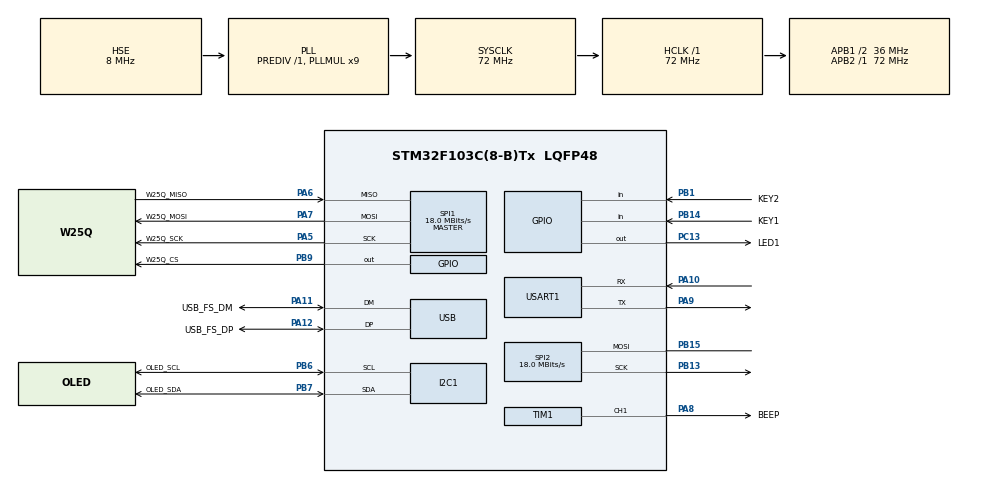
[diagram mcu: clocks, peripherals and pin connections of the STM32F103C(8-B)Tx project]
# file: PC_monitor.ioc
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Dma.Request0=USART1_RX
Dma.Request1=USART1_TX
Dma.USART1_RX.0.Direction=DMA_PERIPH_TO_MEMORY
Dma.USART1_RX.0.Instance=DMA1_Channel5
Dma.USART1_RX.0.MemDataAlignment=DMA_MDATAALIGN_BYTE
Dma.USART1_RX.0.MemInc=DMA_MINC_ENABLE
Dma.USART1_RX.0.Mode=DMA_NORMAL
Dma.USART1_RX.0.PeriphDataAlignment=DMA_PDATAALIGN_BYTE
Dma.USART1_RX.0.PeriphInc=DMA_PINC_DISABLE
Dma.USART1_RX.0.Priority=DMA_PRIORITY_LOW
Dma.USART1_TX.1.Direction=DMA_MEMORY_TO_PERIPH
Dma.USART1_TX.1.Instance=DMA1_Channel4
Dma.USART1_TX.1.MemDataAlignment=DMA_MDATAALIGN_BYTE
Dma.USART1_TX.1.MemInc=DMA_MINC_ENABLE
Dma.USART1_TX.1.Mode=DMA_NORMAL
Dma.USART1_TX.1.PeriphDataAlignment=DMA_PDATAALIGN_BYTE
Dma.USART1_TX.1.PeriphInc=DMA_PINC_DISABLE
Dma.USART1_TX.1.Priority=DMA_PRIORITY_LOW
I2C1.I2C_Mode=I2C_Fast
Mcu.Family=STM32F1
Mcu.Name=STM32F103C(8-B)Tx
Mcu.Package=LQFP48
NVIC.DMA1_Channel4_IRQn=true\:7\:0\:true\:false\:true\:false\:true\:true
NVIC.DMA1_Channel5_IRQn=true\:7\:0\:true\:false\:true\:false\:true\:true
NVIC.PriorityGroup=NVIC_PRIORITYGROUP_4
NVIC.TIM4_IRQn=true\:0\:0\:false\:false\:true\:true\:true\:true
NVIC.USART1_IRQn=true\:7\:0\:true\:false\:true\:true\:true\:true
NVIC.USB_LP_CAN1_RX0_IRQn=true\:6\:0\:true\:false\:true\:false\:true\:true
PA10.GPIO_PuPd=GPIO_PULLUP
PA10.Mode=Asynchronous
PA10.Signal=USART1_RX
PA11.GPIO_Label=USB_FS_DM
PA11.Mode=Device
PA11.Signal=USB_DM
PA12.GPIO_Label=USB_FS_DP
PA12.Mode=Device
PA12.Signal=USB_DP
PA13.Mode=Serial_Wire
PA13.Signal=SYS_JTMS-SWDIO
PA14.Mode=Serial_Wire
PA14.Signal=SYS_JTCK-SWCLK
PA5.GPIO_Label=W25Q_SCK
PA5.Mode=Full_Duplex_Master
PA5.Signal=SPI1_SCK
PA6.GPIO_Label=W25Q_MISO
PA6.Mode=Full_Duplex_Master
PA6.Signal=SPI1_MISO
PA7.GPIO_Label=W25Q_MOSI
PA7.Mode=Full_Duplex_Master
PA7.Signal=SPI1_MOSI
PA8.GPIO_Label=BEEP
PA8.Signal=S_TIM1_CH1
PA9.Mode=Asynchronous
PA9.Signal=USART1_TX
PB1.GPIO_Label=KEY2
PB1.GPIO_PuPd=GPIO_PULLUP
PB1.Signal=GPIO_Input
PB13.Mode=Simplex_Bidirectional_Master
PB13.Signal=SPI2_SCK
PB14.GPIO_Label=KEY1
PB14.GPIO_PuPd=GPIO_PULLUP
PB14.Signal=GPIO_Input
PB15.Mode=Simplex_Bidirectional_Master
PB15.Signal=SPI2_MOSI
PB6.GPIO_Label=OLED_SCL
PB6.Mode=I2C
PB6.Signal=I2C1_SCL
PB7.GPIO_Label=OLED_SDA
PB7.Mode=I2C
PB7.Signal=I2C1_SDA
PB9.GPIO_Label=W25Q_CS
PB9.Signal=GPIO_Output
PC13-TAMPER-RTC.GPIO_Label=LED1
PC13-TAMPER-RTC.GPIO_PuPd=GPIO_PULLUP
PC13-TAMPER-RTC.PinState=GPIO_PIN_SET
PC13-TAMPER-RTC.Signal=GPIO_Output
PC14-OSC32_IN.Mode=LSE-External-Oscillator
PC14-OSC32_IN.Signal=RCC_OSC32_IN
PC15-OSC32_OUT.Mode=LSE-External-Oscillator
PC15-OSC32_OUT.Signal=RCC_OSC32_OUT
PD0-OSC_IN.Mode=HSE-External-Oscillator
PD0-OSC_IN.Signal=RCC_OSC_IN
PD1-OSC_OUT.Mode=HSE-External-Oscillator
PD1-OSC_OUT.Signal=RCC_OSC_OUT
ProjectManager.HeapSize=0x200
ProjectManager.StackSize=0x400
ProjectManager.TargetToolchain=MDK-ARM V5.32
RCC.AHBFreq_Value=72000000
RCC.APB1CLKDivider=RCC_HCLK_DIV2
RCC.APB1Freq_Value=36000000
RCC.APB1TimFreq_Value=72000000
RCC.APB2Freq_Value=72000000
RCC.APB2TimFreq_Value=72000000
RCC.HCLKFreq_Value=72000000
RCC.PLLMUL=RCC_PLL_MUL9
RCC.PLLSourceVirtual=RCC_PLLSOURCE_HSE
RCC.SYSCLKFreq_VALUE=72000000
RCC.SYSCLKSource=RCC_SYSCLKSOURCE_PLLCLK
RCC.USBFreq_Value=48000000
RCC.USBPrescaler=RCC_USBCLKSOURCE_PLL_DIV1_5
SH.S_TIM1_CH1.0=TIM1_CH1,PWM Generation1 CH1
SPI1.BaudRatePrescaler=SPI_BAUDRATEPRESCALER_4
SPI1.CalculateBaudRate=18.0 MBits/s
SPI1.Direction=SPI_DIRECTION_2LINES
SPI1.Mode=SPI_MODE_MASTER
SPI1.VirtualType=VM_MASTER
SPI2.CalculateBaudRate=18.0 MBits/s
SPI2.Direction=SPI_DIRECTION_1LINE
SPI2.Mode=SPI_MODE_MASTER
SPI2.VirtualType=VM_MASTER
TIM1.Channel-PWM\ Generation1\ CH1=TIM_CHANNEL_1
TIM1.Period=1000-1
TIM1.Prescaler=72-1
TIM1.Pulse-PWM\ Generation1\ CH1=500-1
TIM4.Period=1000-1
TIM4.Prescaler=72-1
USART1.VirtualMode=VM_ASYNC
USB_DEVICE.APP_RX_DATA_SIZE=512
USB_DEVICE.APP_TX_DATA_SIZE=512
USB_DEVICE.CLASS_NAME_FS=CDC
USB_DEVICE.USBD_MAX_STR_DESC_SIZ=128
USB_DEVICE.VirtualMode=Cdc
USB_DEVICE.VirtualModeFS=Cdc_FS
VP_TIM1_VS_ClockSourceINT.Mode=Internal
VP_TIM4_VS_ClockSourceINT.Mode=Internal
VP_USB_DEVICE_VS_USB_DEVICE_CDC_FS.Mode=CDC_FS
board=custom

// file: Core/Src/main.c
/* USER CODE BEGIN Header */
/**
  ******************************************************************************
  * @file           : main.c
  * @brief          : Main program body
  ******************************************************************************
  * @attention
  *
  * Copyright (c) 2026 STMicroelectronics.
  * All rights reserved.
  *
  * This software is licensed under terms that can be found in the LICENSE file
  * in the root directory of this software component.
  * If no LICENSE file comes with this software, it is provided AS-IS.
  *
  ******************************************************************************
  */
/* USER CODE END Header */
#include "main.h"
#include "dma.h"
#include "i2c.h"
#include "spi.h"
#include "tim.h"
#include "usart.h"
#include "usb_device.h"
#include "gpio.h"

/* USER CODE BEGIN Includes */
#include <stdio.h>
#include "bsp_headfiles.h"
#include "usbd_cdc_if.h"
/* FreeRTOS头文件 */
//#include "FreeRTOS.h"
//#include "task.h"
//#include "semphr.h"
///* RTOS任务 */
//#include "start_task.h"
#include "ui_task.h"
/* USB通信协议 */
#include "usb_protocol.h"
/* USER CODE END Includes */

void SystemClock_Config(void);

int main(void)
{

  /* MCU Configuration--------------------------------------------------------*/

  /* Reset of all peripherals, Initializes the Flash interface and the Systick. */
  HAL_Init();

  /* Configure the system clock */
  SystemClock_Config();

  /* Initialize all configured peripherals */
  MX_GPIO_Init();
  MX_DMA_Init();
  MX_USART1_UART_Init();
  MX_I2C1_Init();
  MX_TIM4_Init();
  MX_USB_DEVICE_Init();
  MX_SPI1_Init();
  MX_SPI2_Init();
  MX_TIM1_Init();
  /* USER CODE BEGIN 2 */
//	/* 定义虚拟串口的变量 */
//	uint16_t USB_RXNum = 0;
//	uint8_t* USB_RxData = NULL;
	/* 开启USART1的接收：DMA+空闲中断 */
	HAL_StatusTypeDef ret = HAL_UARTEx_ReceiveToIdle_DMA(&huart1, xUART1.BuffTemp, sizeof(xUART1.BuffTemp));
	if (ret != HAL_OK)
	{
		printf("[USART1] USART1 RX DMA start failed, ret=%d\r\n", ret);
	}
	else
	{
		printf("[USART1] RX DMA start OK\r\n");
	}
	/* FLASH初始化 */
//	W25Qxx_Init();
	/* OLED显示屏初始化	*/
	printf("[OLED] OLED init start\r\n");
	OLED_Init();
	printf("[OLED] OLED init finished.\r\n");
	/* 初始化UI */
	UI_Init();
	/* USB顶层协议初始化 */
	USB_Protocol_Init();
	/* 开定时中断 */
	HAL_TIM_Base_Start_IT(&htim4);

	/* 开启FreeRTOS任务调度 */
//	freertos_start();
//	/* FLASH测试 */
//	 W25Qxx_Test();
//	/* OLED测试 */
//	OLED_ShowString(0,0,"hello world",OLED_8X16);
//	OLED_Update();
  /* USER CODE END 2 */

  /* Infinite loop */
  /* USER CODE BEGIN WHILE */
  while (1)
  {
	  /*
     * 单击KEY1切换到下一页
     */
    if (KEY_check_flag(
            KEY_1,
            KEY_SINGLE_PRESS
        ))
    {
		beep(30);
        UI_NextPage();
    }
    /* ========================================================
     * USB CDC协议
     * ======================================================== */
    USB_Protocol_Process();
    /*
     * UI有变化才真正刷新
     */
    UI_Process();

    /*
     * 裸机测试阶段简单释放CPU
     */
    HAL_Delay(1);
    /* USER CODE END WHILE */

  }
}

void SystemClock_Config(void)
{
  RCC_OscInitTypeDef RCC_OscInitStruct = {0};
  RCC_ClkInitTypeDef RCC_ClkInitStruct = {0};
  RCC_PeriphCLKInitTypeDef PeriphClkInit = {0};

  /** Initializes the RCC Oscillators according to the specified parameters
  * in the RCC_OscInitTypeDef structure.
  */
  RCC_OscInitStruct.OscillatorType = RCC_OSCILLATORTYPE_HSE;
  RCC_OscInitStruct.HSEState = RCC_HSE_ON;
  RCC_OscInitStruct.HSEPredivValue = RCC_HSE_PREDIV_DIV1;
  RCC_OscInitStruct.HSIState = RCC_HSI_ON;
  RCC_OscInitStruct.PLL.PLLState = RCC_PLL_ON;
  RCC_OscInitStruct.PLL.PLLSource = RCC_PLLSOURCE_HSE;
  RCC_OscInitStruct.PLL.PLLMUL = RCC_PLL_MUL9;
  if (HAL_RCC_OscConfig(&RCC_OscInitStruct) != HAL_OK)
  {
    Error_Handler();
  }

  /** Initializes the CPU, AHB and APB buses clocks
  */
  RCC_ClkInitStruct.ClockType = RCC_CLOCKTYPE_HCLK|RCC_CLOCKTYPE_SYSCLK
                              |RCC_CLOCKTYPE_PCLK1|RCC_CLOCKTYPE_PCLK2;
  RCC_ClkInitStruct.SYSCLKSource = RCC_SYSCLKSOURCE_PLLCLK;
  RCC_ClkInitStruct.AHBCLKDivider = RCC_SYSCLK_DIV1;
  RCC_ClkInitStruct.APB1CLKDivider = RCC_HCLK_DIV2;
  RCC_ClkInitStruct.APB2CLKDivider = RCC_HCLK_DIV1;

  if (HAL_RCC_ClockConfig(&RCC_ClkInitStruct, FLASH_LATENCY_2) != HAL_OK)
  {
    Error_Handler();
  }
  PeriphClkInit.PeriphClockSelection = RCC_PERIPHCLK_USB;
  PeriphClkInit.UsbClockSelection = RCC_USBCLKSOURCE_PLL_DIV1_5;
  if (HAL_RCCEx_PeriphCLKConfig(&PeriphClkInit) != HAL_OK)
  {
    Error_Handler();
  }
}

/* USER CODE BEGIN 4 */
//uint16_t TIM4_cnt = 0;
/* USER CODE END 4 */

void Error_Handler(void)
{
  __disable_irq();
  while (1)
  {
  }
}
